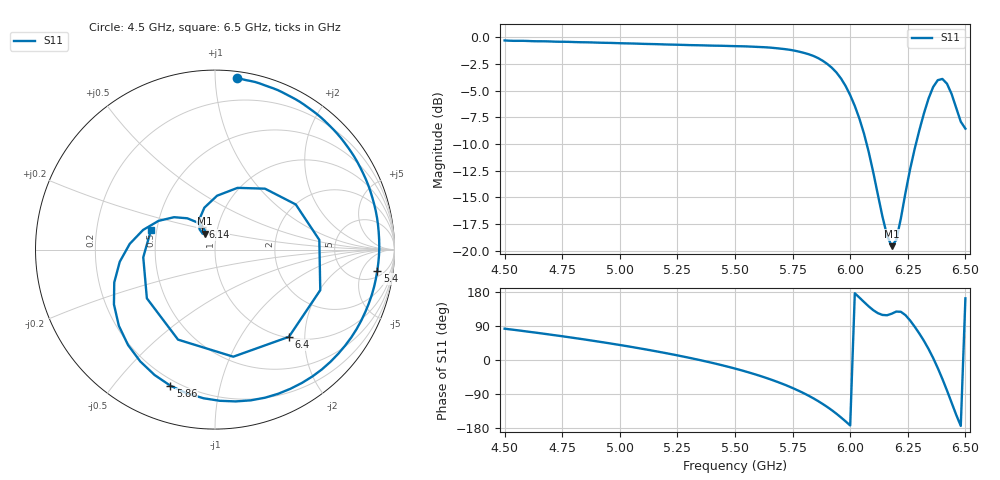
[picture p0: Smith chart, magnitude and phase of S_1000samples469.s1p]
! TOUCHSTONE file generated by CST MICROWAVE STUDIO
! Date and time: Fri Oct 28 06:45:22 2022
! Project name: L.cst
! Parameters = {Di=1.27; Epsilon_r=1.56; InnerDiameter=1.27; Length=2; Lf=10; Lg=60; OuterConductorThickness=0.2921; OuterDiameter=3.6; Wf=3; Wp=41.2; de=1.5; df=6.8; g=0.8; gx=4.94667; gy=1.595; h=2.34; hf=1.524; px=8.01144; py=13.2359; w=9.7; wx=3.06477; wy=11.6409}
! Header version: 2018
! Port assignment regex: !\s*Touchstone port\s*([0-9]+)\s*=\s*(CST MWS port|CST DS port)\s*([0-9]+|Zmin|Zmax)\s*\(\"(.*)\"\)(\s*mode\s*([0-9]+))?.*
! Touchstone port assignment:
! Touchstone port 1 = CST MWS port 1 ("")
# GHz S DB R 50
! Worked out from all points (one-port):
!   101 points, 4.5 GHz to 6.5 GHz, reference 50 ohm
!   lowest |S11| = -19.6 dB at 6.18 GHz (marker M1), VSWR 1.24, Z = 44 + j7.93 ohm
!   |S11| at or under -10 dB: 6.071 GHz to 6.285 GHz (213.8 MHz wide, 3.46 % of centre)
!   S11 on the Smith chart (normalised r, x): 4.5 GHz: 0.04, +1.14; 5.4 GHz: 7, -10; 5.86 GHz: 0.17, -0.71; 6.14 GHz: 0.84, +0.22; 6.4 GHz: 1.02, -1.67; 6.5 GHz: 0.46, +0.12
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4.5  -0.32 82.6
4.76  -0.44 61.8
5  -0.58 39.6
5.26  -0.72 11.0
5.4  -0.80 -7.4
5.5  -0.85 -22.6
5.64  -0.97 -48.2
5.76  -1.28 -76.7
5.82  -1.61 -94.4
5.86  -1.96 -108.2
5.94  -3.31 -141.6
6  -5.43 -172.7
6.06  -9.04 153.0
6.14  -16.79 118.9
6.18  -19.56 122.2
6.2  -18.98 127.8
6.26  -12.36 104.3
6.3  -8.73 70.0
6.32  -7.15 50.6
6.34  -5.76 29.2
6.36  -4.68 5.3
6.38  -4.03 -21.1
6.4  -3.92 -49.7
6.42  -4.36 -80.3
6.44  -5.32 -112.3
6.46  -6.62 -144.4
6.48  -7.92 -173.9
6.5  -8.57 162.7
